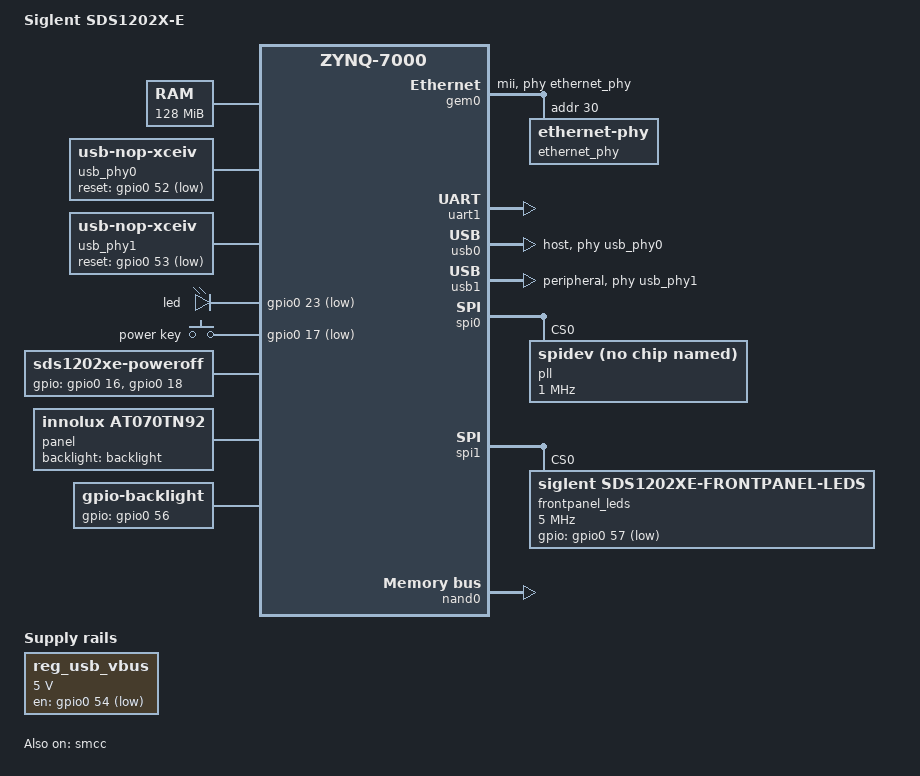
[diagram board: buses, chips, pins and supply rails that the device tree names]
/dts-v1/;
/include/ "zynq-7000.dtsi"

/ {
    model = "Siglent SDS1202X-E";
    compatible = "xlnx,zynq-sds1202xe", "xlnx,zynq-7000";

    aliases {
        ethernet0 = &gem0;
        serial0 = &uart1;
    };

    memory {
        device_type = "memory";
        reg = <0x0 0x8000000>;
    };

    chosen {
        bootargs = "console=ttyPS0,115200 earlycon root=/dev/nfs rw nfsroot=192.168.0.1:/nfsroot,v3,tcp ip=dhcp";
        stdout-path = "serial0:115200n8";
    };

    usb_phy0: phy0 {
        compatible = "usb-nop-xceiv";
        #phy-cells = <0>;
        reset-gpios = <&gpio0 52 1>;
        vbus-regulator = <&reg_usb_vbus>;
        //FIXME: overcurrent detection?
    };

    reg_usb_vbus: usb-vbus {
        compatible = "regulator-fixed";
        regulator-name = "usb-vbus";
        regulator-min-microvolt = <5000000>;
        regulator-max-microvolt = <5000000>;
        gpio = <&gpio0 54 0>; //EMIO GPIO 0
    };

    usb_phy1: phy1 {
        compatible = "usb-nop-xceiv";
        #phy-cells = <0>;
        reset-gpios = <&gpio0 53 1>;
    };

    leds {
        compatible = "gpio-leds";
        led {
            label = "led";
            gpios = <&gpio0 23 1>;
            linux,default-trigger = "heartbeat";
        };
    };

    gpio-keys {
        compatible = "gpio-keys";

        power {
            label = "power key";
            gpios = <&gpio0 17 1>;
            linux,code = <116>; /* KEY_POWER */
            debounce-interval = <10>;
        };
    };

    sds1202xe-poweroff {
        compatible = "sds1202xe-poweroff";
        /* MIO16 - trigger power button event on PMIC */
        /* MIO18 - inhibit power button on PMIC */
        gpios = <&gpio0 16 0>, <&gpio0 18 0>;
    };

    amba_pl {
        #address-cells = <0x1>;
        #size-cells = <0x1>;
        compatible = "simple-bus";
        ranges;

        display_vdma: axivdma@80000000 {
            #dma-cells = <1>;

            compatible = "xlnx,axi-vdma-1.00.a";

            interrupt-parent = <&intc>;
            interrupts = <0 29 4>;

            reg = <0x80000000 0x10000>;
            dma-ranges = <0x00000000 0x00000000 0x40000000>;

            xlnx,addrwidth = <32>;
            xlnx,flush-fsync = <0x1>;
            xlnx,num-fstores = <0x1>;

            clocks = <&clkc 16>, <&clkc 17>, <&clkc 16>;
            clock-names = "s_axi_lite_aclk", "m_axi_mm2s_aclk", "m_axis_mm2s_aclk";

            dma-channel@80000000 {
                compatible = "xlnx,axi-vdma-mm2s-channel";
                interrupts = <0 29 4>;
                xlnx,datawidth = <64>;
            };
        };

        display_pixel_clk: pixel-clock@0 {
            compatible = "fixed-clock";
            #clock-cells = <0>;
            clock-frequency = <33333000>;
        };

        xilinx_drm {
            compatible = "xlnx,drm";

            #address-cells = <1>;
            #size-cells = <0>;

            /*xlnx,vtc = <&v_tc_0>;*/
            xlnx,encoder-slave = <&parallel_display>;
            xlnx,connector-type = "HDMIA";
            clocks = <&display_pixel_clk>;

            planes {
                xlnx,pixel-format = "rgb888";
                plane0 {
                    dmas = <&display_vdma 0>;
                    dma-names = "display_vdma";
                };
            };
        };

        parallel_display: parallel-display {
            compatible = "xlnx,parallel-display";
            panel = <&panel>;
        };

        panel: simple-panel {
            compatible = "innolux,at070tn92";
            backlight = <&backlight>;
        };

        backlight: backlight {
            compatible = "gpio-backlight";
            /* EMIO GPIO 3 */
            gpios = <&gpio0 56 0>; //EMIO GPIO 2
            default-on;
        };

        lxwrap@83c00000 {
            compatible = "siglent,lxwrap";
            reg = <0x83c00000 0x10000>;
        };
    };
};

&amba {
    ocm: sram@fffc0000 {
        compatible = "mmio-sram";
        reg = <0xfffc0000 0x10000>;
    };
};

&clkc {
    ps-clk-frequency = <33333333>;
};

&gem0 {
    status = "okay";
    phy-mode = "mii";
    phy-handle = <&ethernet_phy>;

    ethernet_phy: ethernet-phy@0x1e {
        reg = <0x1e>;
    };
};

&uart1 {
    status = "okay";
};

&usb0 {
    status = "okay";
    dr_mode = "host";
    usb-phy = <&usb_phy0>;
    //pinctrl-names = "default";
    //pinctrl-0 = <&pinctrl_usb0_default>;
};

&usb1 {
    status = "okay";
    dr_mode = "peripheral";
    usb-phy = <&usb_phy1>;
    //pinctrl-names = "default";
    //pinctrl-0 = <&pinctrl_usb1_default>;
};

// Main Siglent SPI bus (PLL, ADC, ...).
&spi0 {
    status = "okay";

    pll@0 {
        compatible = "linux,spidev";
        reg = <0x0>;
        spi-max-frequency = <1000000>;
    };
};

// Auxiliary bus to front panel.
&spi1 {
    status = "okay";

    frontpanel_leds@0 {
        compatible = "siglent,sds1202xe-frontpanel-leds";
        reg = <0x0>;
        spi-max-frequency = <5000000>;
        gpios = <&gpio0 57 1>;  /* shift register output enable - EMIO GPIO 3 */
    };
};

//FIXME: SDHCI0 is enabled in original device tree for whatever reason
//&sdhci0 {
//    status = "okay";
//};

&smcc {
    status = "okay";
};

&nand0 {
    status = "okay";

    arm,nand-cycle-t0 = <0x5>;
    arm,nand-cycle-t1 = <0x5>;
    arm,nand-cycle-t2 = <0x2>;
    arm,nand-cycle-t3 = <0x3>;
    arm,nand-cycle-t4 = <0x1>;
    arm,nand-cycle-t5 = <0x2>;
    arm,nand-cycle-t6 = <0x2>;

    partition@nand-fsbl {
        label = "fsbl";
        reg = <0x0 0x780000>;
    };
    partition@nand-linux {
        label = "kerneldata";
        reg = <0x780000 0x400000>;
    };
    partition@nand-device-tree {
        label = "device-tree";
        reg = <0xb80000 0x80000>;
    };
    partition@nand-manufacturedata {
        label = "Manufacturedata";
        reg = <0xc00000 0x500000>;
    };
    partition@nand-reserved1 {
        label = "reserved1";
        reg = <0x1100000 0x500000>;
    };
    partition@nand-rootfs {
        label = "rootfs";
        reg = <0x1600000 0x1e00000>;
    };
    partition@nand-firmdata0 {
        label = "firmdata0";
        reg = <0x3400000 0xa00000>;
    };
    partition@nand-firmdata1 {
        label = "firmdata1";
        reg = <0x3e00000 0xa00000>;
    };
    partition@nand-siglent {
        label = "siglent";
        reg = <0x4800000 0x1400000>;
    };
    partition@nand-datafs {
        label = "datafs";
        reg = <0x5c00000 0x6400000>;
    };
    partition@nand-log {
        label = "log";
        reg = <0xc000000 0xa00000>;
    };
    partition@nand-upgrade_cramdisk {
        label = "upgrade_cramdisk";
        reg = <0xca00000 0x1e00000>;
    };
    partition@nand-reserved2 {
        label = "reserved2";
        reg = <0xe800000 0x1800000>;
    };
};

//FIXME: configure pinctrl correctly
//&pinctrl0 {
//    pinctrl_usb0_default: usb0-default {
//        mux {
//            groups = "usb0_0_grp";
//            function = "usb0";
//        };
//
//        conf {
//            groups = "usb0_0_grp";
//            slew-rate = <0>;
//            io-standard = <1>;
//        };
//
//        conf-rx {
//            pins = "MIO29", "MIO31", "MIO36";
//            bias-high-impedance;
//        };
//
//        conf-tx {
//            pins = "MIO28", "MIO30", "MIO32", "MIO33", "MIO34",
//                   "MIO35", "MIO37", "MIO38", "MIO39";
//            bias-disable;
//        };
//    };
//};
